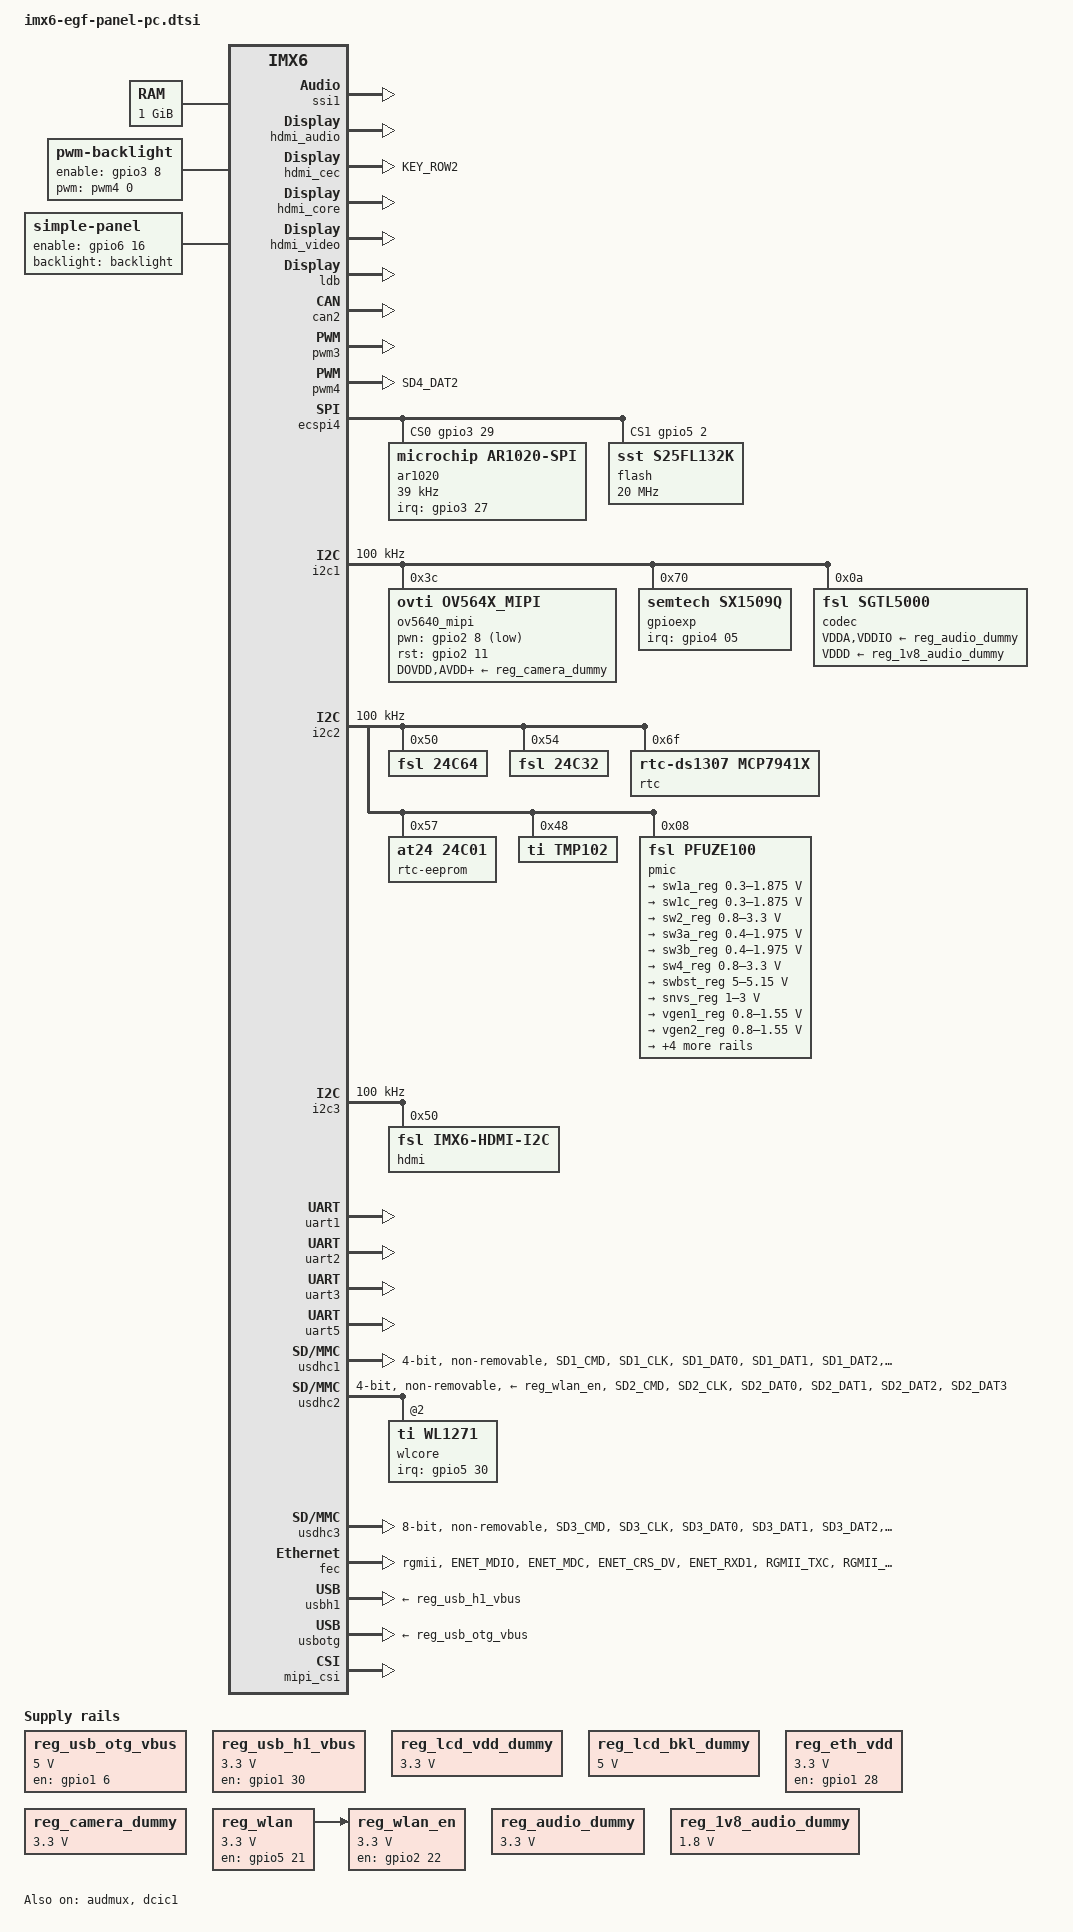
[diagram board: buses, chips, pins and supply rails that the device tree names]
/*
 * Copyright 2013 Freescale Semiconductor, Inc.
 *
 * Author: Fabio Estevam <fabio.estevam@freescale.com>
 *
 * This program is free software; you can redistribute it and/or modify
 * it under the terms of the GNU General Public License version 2 as
 * published by the Free Software Foundation.
 *
 */

#include <dt-bindings/input/input.h>
#include <dt-bindings/interrupt-controller/irq.h>

/ {
	aliases {
		mxcfb0 = &mxcfb1;
		mxcfb1 = &mxcfb2;
		lvds_channel1 = &lvds_channel1;
		lvds_channel1_timings = &lvds_channel1_timings;
		EGF_BLC1136 = &EGF_BLC1136;
		EGF_BLC1134 = &EGF_BLC1134;
		EGF_BLC1133 = &EGF_BLC1133;
	};

	chosen {
		stdout-path = &uart2;
	};

	memory: memory {
		reg = <0x10000000 0x40000000>;
	};

	regulators {
		compatible = "simple-bus";
		#address-cells = <1>;
		#size-cells = <0>;

		reg_usb_otg_vbus: regulator@0 {
			compatible = "regulator-fixed";
			reg = <0>;
			regulator-name = "usb_otg_vbus";
			regulator-min-microvolt = <5000000>;
			regulator-max-microvolt = <5000000>;
			gpio = <&gpio1 6 0>;
			enable-active-high;
		};
		
		reg_usb_h1_vbus: regulator@1 {
			compatible = "regulator-fixed";
			reg = <1>;
			regulator-name = "usb_h1_vbus";
			regulator-min-microvolt = <3300000>;
			regulator-max-microvolt = <3300000>;
			gpio = <&gpio1 30 0>;
			regulator-boot-on;
			regulator-always-on;
			enable-active-high;
		};
		
		reg_lcd_vdd_dummy: regulator@3 {
			compatible = "regulator-fixed";
			reg = <3>;
			regulator-name = "lcd_vdd";
			regulator-min-microvolt = <3300000>;
			regulator-max-microvolt = <3300000>;
			regulator-always-on;
		};

		reg_lcd_bkl_dummy: regulator@4 {
			compatible = "regulator-fixed";
			reg = <4>;
			regulator-name = "lcd_bkl_vdd";
			regulator-min-microvolt = <5000000>;
			regulator-max-microvolt = <5000000>;
			regulator-always-on;
		};
		
		reg_eth_vdd: regulator@5 {
			compatible = "regulator-fixed";
			reg = <5>;
			regulator-name = "eth_vdd";
			regulator-min-microvolt = <3300000>;
			regulator-max-microvolt = <3300000>;
			gpio = <&gpio1 28 0>;
			enable-active-high;
		};		
		
		reg_camera_dummy: regulator@6 {
			compatible = "regulator-fixed";
			reg = <6>;
			regulator-name = "camera-supplies";
			regulator-min-microvolt = <3300000>;
			regulator-max-microvolt = <3300000>;
			regulator-always-on;
		};	
		
		reg_wlan: regulator@7 {
			compatible = "regulator-fixed";
			reg = <7>;
			regulator-name = "wlan-supply";
			regulator-min-microvolt = <3300000>;
			regulator-max-microvolt = <3300000>;
			gpio = <&gpio5 21 0>;
			enable-active-high;
			regulator-boot-on;
			regulator-always-on;
		};
		
		reg_wlan_en: regulator@8 {
			compatible = "regulator-fixed";
			reg = <8>;
			regulator-name = "wlan-en";
			regulator-min-microvolt = <3300000>;
			regulator-max-microvolt = <3300000>;
			startup-delay-us = <200000>;
			vin-supply = <&reg_wlan>;
			gpio = <&gpio2 22 0>;
			enable-active-high;
//			regulator-boot-on;
//			regulator-always-on;
		};
		
		reg_audio_dummy: regulator@9 {
			compatible = "regulator-fixed";
			reg = <9>;
			regulator-name = "audio_vdda_vddio";
			regulator-min-microvolt = <3300000>;
			regulator-max-microvolt = <3300000>;
			regulator-always-on;
		};
		
		reg_1v8_audio_dummy: regulator@10 {
			compatible = "regulator-fixed";
			reg = <10>;
			regulator-name = "audio_vddd";
			regulator-min-microvolt = <1800000>;
			regulator-max-microvolt = <1800000>;
			regulator-always-on;		
		};
	};
	
	mxcfb1: fb@0 {
		compatible = "fsl,mxc_sdc_fb";
		disp_dev = "ldb";
		interface_pix_fmt = "RGB24";
		default_bpp = <24>;
		int_clk = <0>;
		late_init = <0>;
		status = "okay";
	};
	
	mxcfb2: fb@1 {
		compatible = "fsl,mxc_sdc_fb";
		disp_dev = "hdmi";
		interface_pix_fmt = "RGB24";
		mode_str ="1920x1080M@60";
		default_bpp = <24>;
		int_clk = <0>;
		late_init = <0>;
		status = "okay";
	};
		
	backlight: backlight {
		compatible = "pwm-backlight";
		pwms = <&pwm4 0 50000>;
		brightness-levels = <0 4 8 16 24 32 64 72 96 128 196 255>;
		default-brightness-level = <11>;
		enable-gpios = <&gpio3 8 0>;
		status = "okay";
	};
	
	v4l2_cap_0 {
		compatible = "fsl,imx6q-v4l2-capture";
		ipu_id = <0>;
		csi_id = <0>;
		mclk_source = <0>;
		status = "okay";
	};

	v4l2_out {
		compatible = "fsl,mxc_v4l2_output";
		status = "okay";
	};
	
	lcd@0 {
		compatible = "fsl,lcd";
		ipu_id = <0>;
		disp_id = <0>;
		pinctrl-names = "default";
		pinctrl-0 = <&pinctrl_ipu1>;
		default_ifmt = "RGB24";
		status = "okay";
	};
	
	panel: panel {
		compatible = "simple-panel";
		enable-gpios = <&gpio6 16 0>;
		backlight = <&backlight>;
		status = "okay";
	};	

	sound-hdmi {
		compatible = "fsl,imx6q-audio-hdmi",
			     "fsl,imx-audio-hdmi";
		model = "imx-audio-hdmi";
		hdmi-controller = <&hdmi_audio>;
	};

	sound {
		compatible = "fsl,imx-egf-panel-sgtl5000",
			     "fsl,imx-audio-sgtl5000";
		model = "imx-egf-panel-sgtl5000";
		cpu-dai = <&ssi1>;
		audio-codec = <&codec>;
		audio-routing =
			"LINE_IN", "Line In Jack",
			"Headphone Jack", "HP_OUT";
		mux-int-port = <1>;
		mux-ext-port = <3>;
	};

};

&audmux {
	status = "okay";
};

&ssi1 {
	fsl,mode = "i2s-slave";
	status = "okay";
};

&dcic1 {
	dcic_id = <0>;
	dcic_mux = "dcic-hdmi";
	status = "okay";
};

&hdmi_audio {
	status = "okay";
};

&hdmi_cec {
	pinctrl-names = "default";
	pinctrl-0 = <&pinctrl_hdmi_cec>;
	status = "okay";
};

&hdmi_core {
	ipu_id = <0>;
	disp_id = <1>;
	status = "okay";
};

&hdmi_video {
	fsl,phy_reg_vlev = <0x0294>;
	fsl,phy_reg_cksymtx = <0x800d>;
	status = "okay";
};

&ldb {
	status = "okay";
	enable-active-high;

	lvds_channel1: lvds-channel@1 {
		fsl,data-mapping = "spwg";
		fsl,data-width = <24>;
		crtc = "ipu1-di0";
		status = "okay";
		primary;

		lvds_channel1_timings: display-timings {
			EGF_BLC1136: g104s1l01 {
				clock-frequency = <40000000>;
				hactive = <800>;
				vactive = <600>;
				hback-porch = <128>;
				hfront-porch = <128>;
				vback-porch = <14>;
				vfront-porch = <14>;
				hsync-len = <60>;
				vsync-len = <1>;
			};
			EGF_BLC1134: g121i1l01 {
				clock-frequency = <71000000>;
				hactive = <1280>;
				vactive = <800>;
				hback-porch = <80>;
				hfront-porch = <80>;
				vback-porch = <12>;
				vfront-porch = <11>;
				hsync-len = <60>;
				vsync-len = <10>;
			};
			EGF_BLC1133: dlc1010azgt6 {
				clock-frequency = <51200000>;
				hactive = <1024>;
				vactive = <600>;
				hback-porch = <160>;
				hfront-porch = <160>;
				vback-porch = <160>;
				vfront-porch = <160>;
				hsync-len = <60>;
				vsync-len = <10>;
			};
		};
	};
};

&can2 {
	status = "okay";
};

&cpu0 {
	arm-supply = <&sw1a_reg>;
	soc-supply = <&sw1c_reg>;
};

&gpc {
	//use ldo-bypass, u-boot will check it and configure
	fsl,ldo-bypass = <1>;
};

&pwm3 {
	status = "okay";
};

&pwm4 {
	pinctrl-names = "default";
	pinctrl-0 = <&pinctrl_pwm4>;
	status = "okay";
};


&iomuxc {
	pinctrl-names = "default";
	imx6q-egf {
			pinctrl_usdhc1: usdhc1grp {
			fsl,pins = <
				MX6QDL_PAD_SD1_CMD__SD1_CMD			0x17059
				MX6QDL_PAD_SD1_CLK__SD1_CLK			0x10069
				MX6QDL_PAD_SD1_DAT0__SD1_DATA0		0x17059
				MX6QDL_PAD_SD1_DAT1__SD1_DATA1		0x17059
				MX6QDL_PAD_SD1_DAT2__SD1_DATA2		0x17059
				MX6QDL_PAD_SD1_DAT3__SD1_DATA3		0x17059
			>;
		};
			pinctrl_usdhc2: usdhc2grp {
			fsl,pins = <
				MX6QDL_PAD_SD2_CMD__SD2_CMD			0x17059
				MX6QDL_PAD_SD2_CLK__SD2_CLK			0x10069
				MX6QDL_PAD_SD2_DAT0__SD2_DATA0		0x17059
				MX6QDL_PAD_SD2_DAT1__SD2_DATA1		0x17059
				MX6QDL_PAD_SD2_DAT2__SD2_DATA2		0x17059
				MX6QDL_PAD_SD2_DAT3__SD2_DATA3		0x17059
			>;
		};
			pinctrl_usdhc3: usdhc3grp {
			fsl,pins = <
				MX6QDL_PAD_SD3_CMD__SD3_CMD			0x17059
				MX6QDL_PAD_SD3_CLK__SD3_CLK			0x10059
				MX6QDL_PAD_SD3_DAT0__SD3_DATA0		0x17059
				MX6QDL_PAD_SD3_DAT1__SD3_DATA1		0x17059
				MX6QDL_PAD_SD3_DAT2__SD3_DATA2		0x17059
				MX6QDL_PAD_SD3_DAT3__SD3_DATA3		0x17059
				MX6QDL_PAD_SD3_DAT4__SD3_DATA4		0x17059
				MX6QDL_PAD_SD3_DAT5__SD3_DATA5		0x17059
				MX6QDL_PAD_SD3_DAT6__SD3_DATA6		0x17059
				MX6QDL_PAD_SD3_DAT7__SD3_DATA7		0x17059
			>;
		};
		pinctrl_hdmi_cec: hdmicecgrp {
			fsl,pins = <
				MX6QDL_PAD_KEY_ROW2__HDMI_TX_CEC_LINE 0x1f8b0
			>;
		};

		pinctrl_enet: enetgrp {
			fsl,pins = <
				MX6QDL_PAD_ENET_MDIO__ENET_MDIO		0x1b0b0
				MX6QDL_PAD_ENET_MDC__ENET_MDC		0x1b0b0
				MX6QDL_PAD_ENET_CRS_DV__GPIO1_IO25	0x130b0		/* AR8035 reset */
				MX6QDL_PAD_ENET_RXD1__GPIO1_IO26	0x80000000	/* AR8035 interrupt */
				MX6QDL_PAD_RGMII_TXC__RGMII_TXC		0x1b0b0
				MX6QDL_PAD_RGMII_TD0__RGMII_TD0		0x1b0b0
				MX6QDL_PAD_RGMII_TD1__RGMII_TD1		0x1b0b0
				MX6QDL_PAD_RGMII_TD2__RGMII_TD2		0x1b0b0
				MX6QDL_PAD_RGMII_TD3__RGMII_TD3		0x1b0b0
				MX6QDL_PAD_RGMII_TX_CTL__RGMII_TX_CTL	0x1b0b0
				MX6QDL_PAD_ENET_REF_CLK__ENET_TX_CLK	0x1b0b0
				MX6QDL_PAD_RGMII_RXC__RGMII_RXC		0x1b0b0
				MX6QDL_PAD_RGMII_RD0__RGMII_RD0		0x1b0b0
				MX6QDL_PAD_RGMII_RD1__RGMII_RD1		0x1b0b0
				MX6QDL_PAD_RGMII_RD2__RGMII_RD2		0x1b0b0
				MX6QDL_PAD_RGMII_RD3__RGMII_RD3		0x1b0b0
				MX6QDL_PAD_RGMII_RX_CTL__RGMII_RX_CTL	0x1b0b0
			>;
		};
		
		pinctrl_ipu1: ipu1grp {
			fsl,pins = <
				MX6QDL_PAD_DI0_DISP_CLK__IPU1_DI0_DISP_CLK 0x10
				MX6QDL_PAD_DI0_PIN15__IPU1_DI0_PIN15       0x10
				MX6QDL_PAD_DI0_PIN2__IPU1_DI0_PIN02        0x10
				MX6QDL_PAD_DI0_PIN3__IPU1_DI0_PIN03        0x10
				MX6QDL_PAD_DISP0_DAT0__IPU1_DISP0_DATA00   0x10
				MX6QDL_PAD_DISP0_DAT1__IPU1_DISP0_DATA01   0x10
				MX6QDL_PAD_DISP0_DAT2__IPU1_DISP0_DATA02   0x10
				MX6QDL_PAD_DISP0_DAT3__IPU1_DISP0_DATA03   0x10
				MX6QDL_PAD_DISP0_DAT4__IPU1_DISP0_DATA04   0x10
				MX6QDL_PAD_DISP0_DAT5__IPU1_DISP0_DATA05   0x10
				MX6QDL_PAD_DISP0_DAT6__IPU1_DISP0_DATA06   0x10
				MX6QDL_PAD_DISP0_DAT7__IPU1_DISP0_DATA07   0x10
				MX6QDL_PAD_DISP0_DAT8__IPU1_DISP0_DATA08   0x10
				MX6QDL_PAD_DISP0_DAT9__IPU1_DISP0_DATA09   0x10
				MX6QDL_PAD_DISP0_DAT10__IPU1_DISP0_DATA10  0x10
				MX6QDL_PAD_DISP0_DAT11__IPU1_DISP0_DATA11  0x10
				MX6QDL_PAD_DISP0_DAT12__IPU1_DISP0_DATA12  0x10
				MX6QDL_PAD_DISP0_DAT13__IPU1_DISP0_DATA13  0x10
				MX6QDL_PAD_DISP0_DAT14__IPU1_DISP0_DATA14  0x10
				MX6QDL_PAD_DISP0_DAT15__IPU1_DISP0_DATA15  0x10
				MX6QDL_PAD_DISP0_DAT16__IPU1_DISP0_DATA16  0x10
				MX6QDL_PAD_DISP0_DAT17__IPU1_DISP0_DATA17  0x10
				MX6QDL_PAD_DISP0_DAT18__IPU1_DISP0_DATA18  0x10
				MX6QDL_PAD_DISP0_DAT19__IPU1_DISP0_DATA19  0x10
				MX6QDL_PAD_DISP0_DAT20__IPU1_DISP0_DATA20  0x10
				MX6QDL_PAD_DISP0_DAT21__IPU1_DISP0_DATA21  0x10
				MX6QDL_PAD_DISP0_DAT22__IPU1_DISP0_DATA22  0x10
				MX6QDL_PAD_DISP0_DAT23__IPU1_DISP0_DATA23  0x10
			>;
		};
		
		pinctrl_pwm4: pwm4grp {
			fsl,pins = <
				MX6QDL_PAD_SD4_DAT2__PWM4_OUT 		0x1b0b1
			>;
		};
	};
};
&ecspi4 {
	fsl,spi-num-chipselects = <2>;
	cs-gpios = <&gpio3 29 0>, <&gpio5 2 0>;
	status = "okay";

	ar1020@0 {
		compatible = "microchip,ar1020-spi";
		interrupt-parent = <&gpio3>;   //GPIO3_IO27
		interrupts = <27 IRQ_TYPE_EDGE_RISING>;
		reg = <0>;
		spi-max-frequency = <39000>;
	};

	flash: m25p80@1 {
		compatible = "sst,s25fl132k";
		spi-max-frequency = <20000000>;
		reg = <1>;
		#address-cells = <1>;
		#size-cells = <1>;
		mtd0@00000000 {
			label = "SPL";
			reg = <0x000000 0x040000>;
		};
		mtd1@00040000 {
			label = "UBOOT";
			reg = <0x040000 0x100000>;
		};
		mtd2@00140000 {
			label = "DATA";
			reg = <0x140000 0x2C0000>;
		};

	};
};

&i2c1 {
	clock-frequency = <100000>;
	status = "okay";

	ov5640_mipi: ov5640_mipi@3c { /* i2c2 driver */
		compatible = "ovti,ov564x_mipi";
		reg = <0x3c>;
		clocks = <&clks 201>;
		clock-names = "csi_mclk";
		DOVDD-supply = <&reg_camera_dummy>; /* 1.8v */
		AVDD-supply = <&reg_camera_dummy>;  /* 2.8v,*/
		DVDD-supply = <&reg_camera_dummy>;  /* 1.5v */
		pwn-gpios = <&gpio2 8 1>;   /* active low   */
		rst-gpios = <&gpio2 11 0>;   /* active high */
		csi_id = <0>;
		mclk = <24000000>;
		mclk_source = <0>;
	};
	
	gpioexp:	sx1509@70 {
		gpio-cells = <2>;
		interrupt-cells = <2>;
		compatible = "semtech,sx1509q";
		reg = <0x70>;
		interrupt-parent = <&gpio4>;
		interrupts = <05 1>;
		gpio-controller;
		reset_during_probe;
	};
	
	codec: sgtl5000@0a {
		compatible = "fsl,sgtl5000";
		reg = <0x0a>;
		clocks = <&clks 201>;
		VDDA-supply = <&reg_audio_dummy>;
		VDDIO-supply = <&reg_audio_dummy>;
		VDDD-supply = <&reg_1v8_audio_dummy>;
	};
};

&i2c2 {
	clock-frequency = <100000>;
	status = "okay";
	
	//eeprom factory data (som)
	24c64@50 {
		compatible = "fsl,24c64";
		reg = <0x50>;
		pagesize = <32>;
	};
	
	// configuration eeprom 32K (carrier)
	24c32@54 {
		compatible = "fsl,24c32";
		reg = <0x54>;
		pagesize = <32>;
	};	
	
	rtc@6f {
		compatible = "rtc-ds1307,mcp7941x";
		reg = <0x6F>;
	};

	rtc-eeprom@57 {
		compatible = "at24,24c01";
		pagesize = <1>;
		reg = <0x57>;
	};	
	
	tmp102@0x48 {
		reg = <0x48>;
		compatible = "ti,tmp102";
	};
		
	pmic: pfuze100@08 {
		compatible = "fsl,pfuze100";
		reg = <0x08>;

		regulators {
			sw1a_reg: sw1ab {
				regulator-min-microvolt = <300000>;
				regulator-max-microvolt = <1875000>;
				regulator-boot-on;
				regulator-always-on;
				regulator-ramp-delay = <6250>;
			};

			sw1c_reg: sw1c {
				regulator-min-microvolt = <300000>;
				regulator-max-microvolt = <1875000>;
				regulator-boot-on;
				regulator-always-on;
				regulator-ramp-delay = <6250>;
			};

			sw2_reg: sw2 {
				regulator-min-microvolt = <800000>;
				regulator-max-microvolt = <3300000>;
				regulator-boot-on;
				regulator-always-on;
			};

			sw3a_reg: sw3a {
				regulator-min-microvolt = <400000>;
				regulator-max-microvolt = <1975000>;
				regulator-boot-on;
				regulator-always-on;
			};

			sw3b_reg: sw3b {
				regulator-min-microvolt = <400000>;
				regulator-max-microvolt = <1975000>;
				regulator-boot-on;
				regulator-always-on;
			};

			sw4_reg: sw4 {
				regulator-min-microvolt = <800000>;
				regulator-max-microvolt = <3300000>;
				regulator-boot-on;
				regulator-always-on;
			};

			swbst_reg: swbst {
				regulator-min-microvolt = <5000000>;
				regulator-max-microvolt = <5150000>;
			};

			snvs_reg: vsnvs {
				regulator-min-microvolt = <1000000>;
				regulator-max-microvolt = <3000000>;
				regulator-boot-on;
				regulator-always-on;
			};

			vref_reg: vrefddr {
				regulator-boot-on;
				regulator-always-on;
			};

			vgen1_reg: vgen1 {
				regulator-min-microvolt = <800000>;
				regulator-max-microvolt = <1550000>;
			};

			vgen2_reg: vgen2 {
				regulator-min-microvolt = <800000>;
				regulator-max-microvolt = <1550000>;
			};

			vgen3_reg: vgen3 {
				regulator-min-microvolt = <1800000>;
				regulator-max-microvolt = <3300000>;
			};

			vgen4_reg: vgen4 {
				regulator-min-microvolt = <1800000>;
				regulator-max-microvolt = <3300000>;
			};

			vgen5_reg: vgen5 {
				regulator-min-microvolt = <1800000>;
				regulator-max-microvolt = <3300000>;
			};

			vgen6_reg: vgen6 {
				regulator-min-microvolt = <1800000>;
				regulator-max-microvolt = <3300000>;
			};
		};
	};
};

&i2c3 {
	clock-frequency = <100000>;
	status = "okay";

	hdmi: edid@50 {
		compatible = "fsl,imx6-hdmi-i2c";
		reg = <0x50>;
	};
};

// UART1 - 4 fili 
&uart1 {
	fsl,uart-has-rtscts;
	status = "okay";
};

// UART2 - 4 fili 
&uart2 {
	fsl,uart-has-rtscts;
	status = "okay";
};

// UART3 - 4 fili 
&uart3 {
	fsl,uart-has-rtscts;
	status = "okay";
};

// UART5 - 4 fili 
&uart5 {
	fsl,uart-has-rtscts;
	status = "okay";
};

//sdcard
&usdhc1 {
	pinctrl-names = "default";
	pinctrl-0 = <&pinctrl_usdhc1>;
	bus-width = <4>;
	non-removable;
	no-1-8-v;
	status = "okay";
};

//wireless
&usdhc2 {
	pinctrl-names = "default";
	pinctrl-0 = <&pinctrl_usdhc2>;
	bus-width = <4>;
	no-1-8-v;
	status = "okay";
    vmmc-supply = <&reg_wlan_en>;
    keep-power-in-suspend;
    enable-sdio-wakeup;
	non-removable;    /* non-removable is not a variable, the fact it is */
	                  /* listed is all that is used by driver  */
	cap-power-off-card;
	
	#address-cells = <1>;
	#size-cells = <0>;
	wlcore: wlcore@2 {
		compatible = "ti,wl1271";
		reg = <2>;
		interrupt-parent = <&gpio5>;
		interrupts = <30 IRQ_TYPE_LEVEL_HIGH>;
		ref-clock-frequency = <38400000>;
	};
	
};

//eMMC Flash Interna
&usdhc3 {
	pinctrl-names = "default";
	pinctrl-0 = <&pinctrl_usdhc3>;
	bus-width = <8>;
	non-removable;
	no-1-8-v;
	status = "okay";
};

&fec {
	pinctrl-names = "default";
	pinctrl-0 = <&pinctrl_enet>;
	phy-mode = "rgmii";
	phy-reset-gpios = <&gpio1 25 0>;
	fsl,magic-packet;
	status = "okay";
};
&usbh1 {
	vbus-supply = <&reg_usb_h1_vbus>;
	status = "okay";
};

&usbotg {
	vbus-supply = <&reg_usb_otg_vbus>;
	disable-over-current;
	status = "okay";
};

&mipi_csi {
    status = "okay";
    ipu_id = <0>;
    csi_id = <0>;
    v_channel = <0>;
    lanes = <2>;
};
